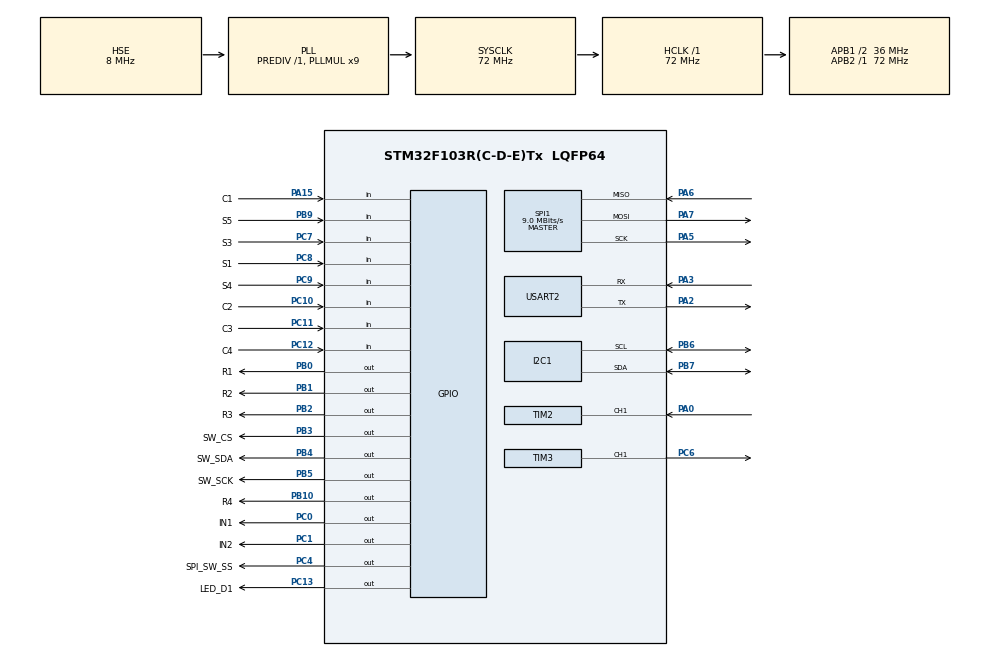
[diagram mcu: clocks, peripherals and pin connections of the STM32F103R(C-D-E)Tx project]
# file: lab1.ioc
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Mcu.Family=STM32F1
Mcu.Name=STM32F103R(C-D-E)Tx
Mcu.Package=LQFP64
NVIC.PriorityGroup=NVIC_PRIORITYGROUP_4
NVIC.TIM2_IRQn=true\:1\:0\:true\:false\:true\:true\:true\:true
NVIC.TIM3_IRQn=true\:0\:0\:false\:false\:true\:true\:true\:true
NVIC.TIM5_IRQn=true\:0\:0\:false\:false\:true\:true\:true\:true
NVIC.USART2_IRQn=true\:2\:0\:true\:false\:true\:true\:true\:true
PA0-WKUP.Signal=S_TIM2_CH1_ETR
PA13.Mode=Serial_Wire
PA13.Signal=SYS_JTMS-SWDIO
PA14.Mode=Serial_Wire
PA14.Signal=SYS_JTCK-SWCLK
PA15.GPIO_Label=C1
PA15.Signal=GPIO_Input
PA2.Mode=Asynchronous
PA2.Signal=USART2_TX
PA3.Mode=Asynchronous
PA3.Signal=USART2_RX
PA5.Mode=Full_Duplex_Master
PA5.Signal=SPI1_SCK
PA6.Mode=Full_Duplex_Master
PA6.Signal=SPI1_MISO
PA7.Mode=Full_Duplex_Master
PA7.Signal=SPI1_MOSI
PB0.GPIO_Label=R1
PB0.Signal=GPIO_Output
PB1.GPIO_Label=R2
PB1.Signal=GPIO_Output
PB10.GPIO_Label=R4
PB10.Signal=GPIO_Output
PB2.GPIO_Label=R3
PB2.Signal=GPIO_Output
PB3.GPIO_Label=SW_CS
PB3.Signal=GPIO_Output
PB4.GPIO_Label=SW_SDA
PB4.Signal=GPIO_Output
PB5.GPIO_Label=SW_SCK
PB5.Signal=GPIO_Output
PB6.Mode=I2C
PB6.Signal=I2C1_SCL
PB7.Mode=I2C
PB7.Signal=I2C1_SDA
PB9.GPIO_Label=S5
PB9.Signal=GPIO_Input
PC0.GPIO_Label=IN1
PC0.Signal=GPIO_Output
PC1.GPIO_Label=IN2
PC1.Signal=GPIO_Output
PC10.GPIO_Label=C2
PC10.Signal=GPIO_Input
PC11.GPIO_Label=C3
PC11.Signal=GPIO_Input
PC12.GPIO_Label=C4
PC12.Signal=GPIO_Input
PC13-TAMPER-RTC.GPIO_Label=LED_D1
PC13-TAMPER-RTC.Signal=GPIO_Output
PC4.GPIO_Label=SPI_SW_SS
PC4.Signal=GPIO_Output
PC6.Signal=S_TIM3_CH1
PC7.GPIO_Label=S3
PC7.Signal=GPIO_Input
PC8.GPIO_Label=S1
PC8.Signal=GPIO_Input
PC9.GPIO_Label=S4
PC9.Signal=GPIO_Input
PD0-OSC_IN.Mode=HSE-External-Oscillator
PD0-OSC_IN.Signal=RCC_OSC_IN
PD1-OSC_OUT.Mode=HSE-External-Oscillator
PD1-OSC_OUT.Signal=RCC_OSC_OUT
ProjectManager.HeapSize=0x200
ProjectManager.StackSize=0x400
ProjectManager.TargetToolchain=MDK-ARM V5.32
RCC.ADCPresc=RCC_ADCPCLK2_DIV6
RCC.AHBFreq_Value=72000000
RCC.APB1CLKDivider=RCC_HCLK_DIV2
RCC.APB1Freq_Value=36000000
RCC.APB1TimFreq_Value=72000000
RCC.APB2Freq_Value=72000000
RCC.APB2TimFreq_Value=72000000
RCC.HCLKFreq_Value=72000000
RCC.PLLMUL=RCC_PLL_MUL9
RCC.PLLSourceVirtual=RCC_PLLSOURCE_HSE
RCC.SYSCLKFreq_VALUE=72000000
RCC.SYSCLKSource=RCC_SYSCLKSOURCE_PLLCLK
RCC.USBFreq_Value=72000000
SH.S_TIM2_CH1_ETR.0=TIM2_CH1,Input_Capture1_from_TI1
SH.S_TIM3_CH1.0=TIM3_CH1,PWM Generation1 CH1
SPI1.BaudRatePrescaler=SPI_BAUDRATEPRESCALER_8
SPI1.CalculateBaudRate=9.0 MBits/s
SPI1.Direction=SPI_DIRECTION_2LINES
SPI1.Mode=SPI_MODE_MASTER
SPI1.VirtualType=VM_MASTER
TIM2.Channel-Input_Capture1_from_TI1=TIM_CHANNEL_1
TIM2.Period=65535
TIM2.Prescaler=71
TIM3.Channel-PWM\ Generation1\ CH1=TIM_CHANNEL_1
TIM3.Period=999
TIM3.Prescaler=71
TIM5.Period=720
TIM5.Prescaler=10000
USART2.VirtualMode=VM_ASYNC
VP_TIM2_VS_ClockSourceINT.Mode=Internal
VP_TIM3_VS_ClockSourceINT.Mode=Internal
VP_TIM5_VS_ClockSourceINT.Mode=Internal
board=custom

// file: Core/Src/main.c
/* USER CODE BEGIN Header */
/**
  ******************************************************************************
  * @file           : main.c
  * @brief          : Main program body
  ******************************************************************************
  * @attention
  *
  * Copyright (c) 2025 STMicroelectronics.
  * All rights reserved.
  *
  * This software is licensed under terms that can be found in the LICENSE file
  * in the root directory of this software component.
  * If no LICENSE file comes with this software, it is provided AS-IS.
  *
  ******************************************************************************
  */
/* USER CODE END Header */
#include "main.h"
#include "i2c.h"
#include "spi.h"
#include "tim.h"
#include "usart.h"
#include "gpio.h"

/* USER CODE BEGIN Includes */
#include "LED.h"
#include "sw_lcd.h"
#include "spi_lcd.h"
#include "i2c_oled.h"
#include "595driver.h"
#include "key.h"
#include "sw_keyboard.h"
#include "timer.h"
#include "tm1650.h"
#include <string.h>
#include <stdio.h>
/* USER CODE END Includes */

/* USER CODE BEGIN PD */
#define lab4
/* USER CODE END PD */

/* USER CODE BEGIN PV */
int key_current;
int key_history;
int s4_status = 0;
int s5_status = 0;
int clear_bits[5] = {0,0,0,0,0};
int lcd_flag = 0;
uint16_t ADC_value = 0;
float ADC_Value_float = 0;
char *name_key = "YangHaoTian Key3 pressed\n"; //27
char *number_key = "20221689 Key6 pressed\n"; //23
char ADC_str[64] = "hello world\n"; //64;
uint8_t uartRxBuffer[10];
uint8_t uartTxBuffer[128];
uint8_t ledStatus = 0;      // LED状态：0-关闭，1-打开，2-闪烁
uint8_t flashFrequency = 1; // 闪烁频率，默认1Hz
uint16_t rxIndex = 0; // 接收索引
uint8_t uartRxChar; // 单字符接收缓冲区
int PWM_pulse = 100; // PWM占空比，初始值10%
int Moter_direction = 0; // 电机方向，0-正转，1-反转，2-停止

volatile uint32_t IC_Val1 = 0;          // 保存第一次捕获值
volatile uint32_t IC_Val2 = 0;          // 保存第二次捕获值
volatile uint32_t Difference = 0;       // 保存两次捕获的差值 (计数值)
volatile uint8_t Is_First_Captured = 0; // 状态标志，0表示等待第一次捕获，1表示等待第二次捕获
volatile float Frequency = 0.0f;        // 计算得到的频率 (Hz)
volatile float RPM = 0.0f;            // 计算得到的转速 (RPM)
const uint32_t Timer_ARR = 65535;     // TIM2的ARR值 (根据配置修改)
const float Timer_Clock_Frequency = 1000000.0f; // 定时器计数频率 (Hz), 根据PSC和时钟源计算得到
                                                // 例如 72MHz / (71+1) = 1MHz
const float Pulses_Per_Revolution = 10.0f; // 每转脉冲数 (根据实际传感器修改)
//extern int LED_status;
/* USER CODE END PV */

void SystemClock_Config(void);

int main(void)
{

  /* USER CODE BEGIN 1 */
  LED_status = 1;
  /* USER CODE END 1 */

  /* MCU Configuration--------------------------------------------------------*/

  /* Reset of all peripherals, Initializes the Flash interface and the Systick. */
  HAL_Init();

  /* Configure the system clock */
  SystemClock_Config();

  /* Initialize all configured peripherals */
  MX_GPIO_Init();
  MX_SPI1_Init();
  MX_TIM2_Init();
  MX_TIM5_Init();
  MX_TIM3_Init();
  MX_I2C1_Init();
  MX_USART2_UART_Init();
  /* USER CODE BEGIN 2 */
  HAL_TIM_Base_Start_IT(&htim3); //开启定时器中断
  HAL_TIM_Base_Start_IT(&htim2); //开启定时器中断
  HAL_TIM_IC_Start_IT(&htim2, TIM_CHANNEL_1); //开启输入捕获中断
  HAL_TIM_PWM_Start(&htim3, TIM_CHANNEL_1); //开启PWM输出
  HAL_UART_Receive_IT(&huart2, uartRxBuffer, sizeof(uartRxBuffer)); //开启串口接收中断
	LCE_init();
	HAL_GPIO_WritePin(GPIOC, GPIO_PIN_13, 0); //led
	OLED_Init();
	OLED_CLS();
	//OLED_LAB_DISP_name();   //display name & number
  /* USER CODE END 2 */

  /* Infinite loop */
  /* USER CODE BEGIN WHILE */
  while (1)
  {
    if(scan_KeyBoard())
    {
      if (curr_key == '0')
      {
        //正转
        Change_motor_direction(0);
        Moter_direction = 0;
      }
      if(curr_key == '4')
      {
        //反转
        Change_motor_direction(1);
        Moter_direction = 1;
      }
      if(curr_key == '8')
      {
        //停止
        Change_motor_direction(2);
        Moter_direction = 2;
      }
      if(curr_key == '5')
      {
        //加速
        Moteor_Speed_change(1);
      }
			 if(curr_key == '9')
      {
        //加速
        Moteor_Speed_change(1);
      }
      if (curr_key == '6')
      {
        //减速
        Moteor_Speed_change(2);
      }
			if (curr_key == 'A')
      {
        //减速
        Moteor_Speed_change(2);
      }
    }
    LCD_Display_Lab(); //LCD display ADC value
		OLED_LAB_DISP_name();        /*要求四*/
    /* USER CODE END WHILE */

  }
}

void SystemClock_Config(void)
{
  RCC_OscInitTypeDef RCC_OscInitStruct = {0};
  RCC_ClkInitTypeDef RCC_ClkInitStruct = {0};

  /** Initializes the RCC Oscillators according to the specified parameters
  * in the RCC_OscInitTypeDef structure.
  */
  RCC_OscInitStruct.OscillatorType = RCC_OSCILLATORTYPE_HSE;
  RCC_OscInitStruct.HSEState = RCC_HSE_ON;
  RCC_OscInitStruct.HSEPredivValue = RCC_HSE_PREDIV_DIV1;
  RCC_OscInitStruct.HSIState = RCC_HSI_ON;
  RCC_OscInitStruct.PLL.PLLState = RCC_PLL_ON;
  RCC_OscInitStruct.PLL.PLLSource = RCC_PLLSOURCE_HSE;
  RCC_OscInitStruct.PLL.PLLMUL = RCC_PLL_MUL9;
  if (HAL_RCC_OscConfig(&RCC_OscInitStruct) != HAL_OK)
  {
    Error_Handler();
  }

  /** Initializes the CPU, AHB and APB buses clocks
  */
  RCC_ClkInitStruct.ClockType = RCC_CLOCKTYPE_HCLK|RCC_CLOCKTYPE_SYSCLK
                              |RCC_CLOCKTYPE_PCLK1|RCC_CLOCKTYPE_PCLK2;
  RCC_ClkInitStruct.SYSCLKSource = RCC_SYSCLKSOURCE_PLLCLK;
  RCC_ClkInitStruct.AHBCLKDivider = RCC_SYSCLK_DIV1;
  RCC_ClkInitStruct.APB1CLKDivider = RCC_HCLK_DIV2;
  RCC_ClkInitStruct.APB2CLKDivider = RCC_HCLK_DIV1;

  if (HAL_RCC_ClockConfig(&RCC_ClkInitStruct, FLASH_LATENCY_2) != HAL_OK)
  {
    Error_Handler();
  }
}

/* USER CODE BEGIN 4 */
void HAL_TIM_PeriodElapsedCallback(TIM_HandleTypeDef *htim){
	if(htim == &htim2){
    HAL_GPIO_TogglePin(GPIOC, GPIO_PIN_13); //LED闪烁
    //HAL_UART_Transmit(&huart2, (uint8_t *)ADC_str, sizeof(ADC_str), 1000); //发送AD值
	}
	if(htim == &htim3){

		}
	if(htim == &htim5){

	}
}
void HAL_UART_RxCpltCallback(UART_HandleTypeDef *huart)
{
  if (huart->Instance == USART2) // 判断接收的串口是否为USART2
  {
    // 处理接收到的数据
        if(strstr((char*)uartRxBuffer, "forwardMot"))
        {
            Change_motor_direction(0);

            // 回复确认信息
            sprintf((char*)uartTxBuffer, "Forward Motor\r\n");
            HAL_UART_Transmit(&huart2, uartTxBuffer, strlen((char*)uartTxBuffer), 100);
        }
        else if(strstr((char*)uartRxBuffer, "backwardmt"))
        {
            Change_motor_direction(1);
            // 回复确认信息
            sprintf((char*)uartTxBuffer, "Reverse motor\r\n");
            HAL_UART_Transmit(&huart2, uartTxBuffer, strlen((char*)uartTxBuffer), 100);
        }
        else if(strstr((char*)uartRxBuffer, "sstopmotor"))
        {
            Change_motor_direction(2);
            sprintf((char*)uartTxBuffer, "stop motor\r\n");
            HAL_UART_Transmit(&huart2, uartTxBuffer, strlen((char*)uartTxBuffer), 100);
        }
        else if(strstr((char*)uartRxBuffer, "speedupmtr"))
        {
          Moteor_Speed_change(1);
          sprintf((char*)uartTxBuffer, "speed up motor\r\n");
          HAL_UART_Transmit(&huart2, uartTxBuffer, strlen((char*)uartTxBuffer), 100);
        }
        else if(strstr((char*)uartRxBuffer, "speeddownm"))
        {
          Moteor_Speed_change(2);
          sprintf((char*)uartTxBuffer, "speed down motor\r\n");
          HAL_UART_Transmit(&huart2, uartTxBuffer, strlen((char*)uartTxBuffer), 100);
        }
        else if(strstr((char*)uartRxBuffer, "speedat"))
        {
            // 解析闪烁频率
            char *freqStr = strstr((char*)uartRxBuffer, "speedat") + 7; // 定位到"speedat"后面
            int freq = 0;

            // 使用sscanf函数解析数字
            if(sscanf(freqStr, "%d", &freq) == 1)
            {
              // 检查是否在有效范围内（例如1-999）
              if(freq >= 1 && freq <= 999)
              {
                // 应用设置
                flashFrequency = freq;
                __HAL_TIM_SetCompare(&htim3, TIM_CHANNEL_1, freq);
            // 回复确认信息
                sprintf((char*)uartTxBuffer, "NEW PWM%dHz频率闪烁\r\n", flashFrequency);
                HAL_UART_Transmit(&huart2, uartTxBuffer, strlen((char*)uartTxBuffer), 100);
              }
              else
              {
              // 无效频率范围
              sprintf((char*)uartTxBuffer, "无效闪烁频率，请输入1-999之间的值\r\n");
              HAL_UART_Transmit(&huart2, uartTxBuffer, strlen((char*)uartTxBuffer), 100);
              }
            }
            else
            {
              // 格式错误
              sprintf((char*)uartTxBuffer, "格式错误，请输入speedat后跟数字\r\n");
              HAL_UART_Transmit(&huart2, uartTxBuffer, strlen((char*)uartTxBuffer), 100);
            }
        }
        else
        {
            // 回传收到的信息
            sprintf((char*)uartTxBuffer, "收到: %s\r\n", uartRxBuffer);
            HAL_UART_Transmit(&huart2, uartTxBuffer, strlen((char*)uartTxBuffer), 100);
        }
        // 清空接收缓冲区并继续接收
        memset(uartRxBuffer, 0, sizeof(uartRxBuffer));
        HAL_UART_Receive_IT(&huart2, uartRxBuffer, sizeof(uartRxBuffer));
  }else{
    HAL_UART_Transmit(&huart2, (uint8_t *)"Error: Unknown UART instance\n", 30, 1000); // 错误处理
  }
	        //memset(uartRxBuffer, 0, sizeof(uartRxBuffer));

}
void HAL_TIM_IC_CaptureCallback(TIM_HandleTypeDef *htim)
{
    // 确保是TIM2的中断源且是通道1触发的 (虽然回调函数是特定的，但检查htim->Instance是好习惯)
    if (htim->Instance == TIM2 && htim->Channel == HAL_TIM_ACTIVE_CHANNEL_1)
    {
      if (Is_First_Captured == 0) // 等待第一次捕获
      {
        // 读取第一次捕获值
        IC_Val1 = HAL_TIM_ReadCapturedValue(htim, TIM_CHANNEL_1); // 读取CCR1寄存器值
        Is_First_Captured = 1; // 标记已捕获第一次
      }
      else // 已捕获第一次，现在是第二次捕获
      {
        // 读取第二次捕获值
        IC_Val2 = HAL_TIM_ReadCapturedValue(htim, TIM_CHANNEL_1);

        // 计算差值，处理定时器溢出
        if (IC_Val2 >= IC_Val1)
        {
          Difference = IC_Val2 - IC_Val1;
        }
        else // 定时器溢出
        {
          // ARR是自动重载值 (例如 65535)
          // 定时器周期是 ARR+1 个计数
          Difference = (Timer_ARR - IC_Val1) + IC_Val2 + 1;
          // 或者写成 Difference = ((htim->Instance->ARR) - IC_Val1) + IC_Val2 + 1;
        }

        // 计算频率 (Hz)
        if (Difference != 0) // 避免除以零
        {
          // 注意: Timer_Clock_Frequency 需要根据你的实际配置计算
          // Timer_Clock_Frequency = HAL_RCC_GetPCLK1Freq() / (htim->Init.Prescaler + 1);
          // **重要**: 如果APB1预分频器不是1分频 (RCC_ClkInitStruct.APB1CLKDivider)，
          // APB1上的定时器时钟通常是PCLK1的2倍 (除非PCLK1等于AHB时钟)。
          // 请务必通过CubeMX的时钟配置界面或参考手册确认TIM2的精确时钟源频率。
          // 假设 Timer_Clock_Frequency 已正确计算并定义为常量或变量

          Frequency = Timer_Clock_Frequency / (float)Difference;

          // 计算RPM
          RPM = (Frequency / Pulses_Per_Revolution) * 60.0f;
        }
        else
        {
          // 差值为0，可能速度过快或错误，置零处理
          Frequency = 0.0f;
          RPM = 0.0f;
        }

        // 将当前的捕获值作为下一次计算的第一个值，准备下一次测量
        IC_Val1 = IC_Val2;
        // Is_First_Captured 保持为 1，持续测量
      }
    }
}

/* USER CODE END 4 */

void Error_Handler(void)
{
  __disable_irq();
  while (1)
  {
  }
}
